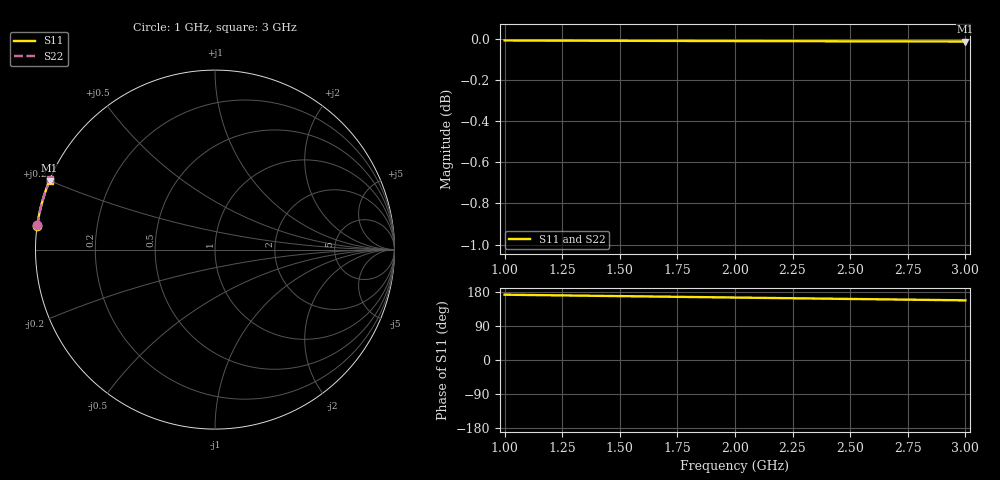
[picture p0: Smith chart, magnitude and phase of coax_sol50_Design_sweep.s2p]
! Touchstone file exported from HFSS 2025.2.0
!  File:  D:/HCX/HFSS/em-copilot/demo_output/run_coax_sol50/coax_sol50.aedt
!  Generated:  11:42:19 AM Sep 18, 2026
!  Design:  coax_sol50_Design
!  Project:  coax_sol50
! Variables:
!  Ci_R_inner = 0.5mm
!  Ci_R_outer = 1.5mm
!  Ci_epsr = 2.2
!  Ci_len = 50mm
!  Ci_losst = 0.001
# GHz S MA R 50.000000
! Terminal data exported
! Port[1] = P1
! Port[2] = P2
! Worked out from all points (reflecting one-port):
!   11 points, 1 GHz to 3 GHz, reference 50 ohm
!   lowest |S11| = 0.0 dB at 3 GHz (marker M1)
!   phase of S11 starts at 172 deg and turns -15 deg over the sweep
1  0.9991 172.4  5.666e-12 -100.4  5.666e-12 -100.4  0.9991 172.2
1.2  0.9991 170.9  7.514e-12 -101.6  7.514e-12 -101.6  0.999 170.6
1.4  0.999 169.3  1.007e-11 -102.9  1.007e-11 -102.9  0.999 169.1
1.6  0.9989 167.8  1.393e-11 -104.1  1.393e-11 -104.1  0.9989 167.5
1.8  0.9988 166.3  2.046e-11 -105.4  2.046e-11 -105.4  0.9988 166.0
2  0.9988 164.8  3.354e-11 -106.7  3.354e-11 -106.7  0.9988 164.4
2.2  0.9987 163.3  6.937e-11 -108.2  6.937e-11 -108.2  0.9987 162.9
2.4  0.9987 161.8  3.772e-10 -110.5  3.772e-10 -110.5  0.9986 161.4
2.6  0.9986 160.4  1.803e-10 70.0  1.803e-10 70.0  0.9986 159.9
2.8  0.9986 158.9  9.555e-11 68.3  9.555e-11 68.3  0.9986 158.4
3  0.9985 157.4  7.906e-11 66.8  7.906e-11 66.8  0.9985 156.9
